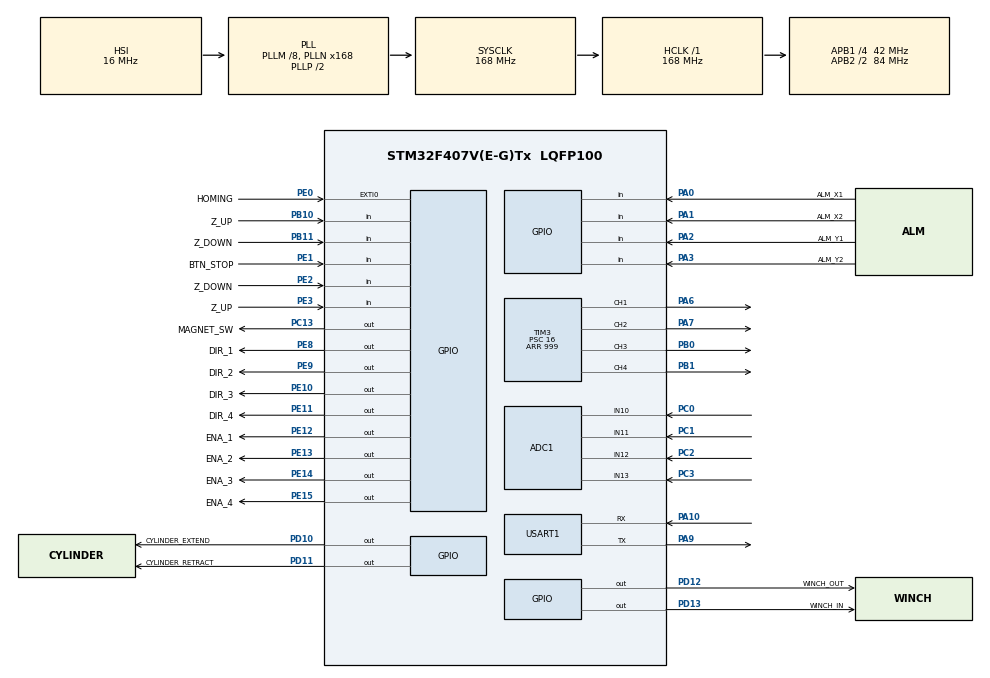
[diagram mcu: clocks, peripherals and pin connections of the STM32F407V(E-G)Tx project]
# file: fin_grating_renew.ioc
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ADC1.Channel-4\#ChannelRegularConversion=ADC_CHANNEL_10
ADC1.Channel-5\#ChannelRegularConversion=ADC_CHANNEL_11
ADC1.Channel-6\#ChannelRegularConversion=ADC_CHANNEL_12
ADC1.Channel-7\#ChannelRegularConversion=ADC_CHANNEL_13
ADC1.ContinuousConvMode=ENABLE
ADC1.DMAContinuousRequests=ENABLE
ADC1.NbrOfConversion=4
ADC1.NbrOfConversionFlag=1
ADC1.Rank-4\#ChannelRegularConversion=1
ADC1.Rank-5\#ChannelRegularConversion=2
ADC1.Rank-6\#ChannelRegularConversion=3
ADC1.Rank-7\#ChannelRegularConversion=4
ADC1.SamplingTime-4\#ChannelRegularConversion=ADC_SAMPLETIME_480CYCLES
ADC1.SamplingTime-5\#ChannelRegularConversion=ADC_SAMPLETIME_480CYCLES
ADC1.SamplingTime-6\#ChannelRegularConversion=ADC_SAMPLETIME_480CYCLES
ADC1.SamplingTime-7\#ChannelRegularConversion=ADC_SAMPLETIME_480CYCLES
ADC1.master=1
Dma.ADC1.0.Direction=DMA_PERIPH_TO_MEMORY
Dma.ADC1.0.FIFOMode=DMA_FIFOMODE_DISABLE
Dma.ADC1.0.Instance=DMA2_Stream0
Dma.ADC1.0.MemDataAlignment=DMA_MDATAALIGN_HALFWORD
Dma.ADC1.0.MemInc=DMA_MINC_ENABLE
Dma.ADC1.0.Mode=DMA_CIRCULAR
Dma.ADC1.0.PeriphDataAlignment=DMA_PDATAALIGN_HALFWORD
Dma.ADC1.0.PeriphInc=DMA_PINC_DISABLE
Dma.ADC1.0.Priority=DMA_PRIORITY_HIGH
Dma.Request0=ADC1
Mcu.Family=STM32F4
Mcu.Name=STM32F407V(E-G)Tx
Mcu.Package=LQFP100
NVIC.DMA2_Stream0_IRQn=true\:2\:0\:false\:false\:true\:false\:true\:true
NVIC.PriorityGroup=NVIC_PRIORITYGROUP_4
NVIC.TIM3_IRQn=true\:0\:0\:false\:false\:true\:true\:true\:true
NVIC.USART1_IRQn=true\:0\:0\:false\:false\:true\:true\:true\:true
PA0-WKUP.GPIO_Label=ALM_X1
PA0-WKUP.GPIO_PuPd=GPIO_PULLUP
PA0-WKUP.Signal=GPIO_Input
PA1.GPIO_Label=ALM_X2
PA1.GPIO_PuPd=GPIO_PULLUP
PA1.Signal=GPIO_Input
PA10.Mode=Asynchronous
PA10.Signal=USART1_RX
PA13.Mode=Serial_Wire
PA13.Signal=SYS_JTMS-SWDIO
PA14.Mode=Serial_Wire
PA14.Signal=SYS_JTCK-SWCLK
PA2.GPIO_Label=ALM_Y1
PA2.GPIO_PuPd=GPIO_PULLUP
PA2.Signal=GPIO_Input
PA3.GPIO_Label=ALM_Y2
PA3.GPIO_PuPd=GPIO_PULLUP
PA3.Signal=GPIO_Input
PA6.Signal=S_TIM3_CH1
PA7.Signal=S_TIM3_CH2
PA9.Mode=Asynchronous
PA9.Signal=USART1_TX
PB0.Signal=S_TIM3_CH3
PB1.Signal=S_TIM3_CH4
PB10.GPIO_Label=Z_UP
PB10.GPIO_PuPd=GPIO_PULLUP
PB10.Signal=GPIO_Input
PB11.GPIO_Label=Z_DOWN
PB11.GPIO_PuPd=GPIO_PULLUP
PB11.Signal=GPIO_Input
PC0.Signal=ADCx_IN10
PC1.Signal=ADCx_IN11
PC13-ANTI_TAMP.GPIO_Label=MAGNET_SW
PC13-ANTI_TAMP.Signal=GPIO_Output
PC2.Signal=ADCx_IN12
PC3.Signal=ADCx_IN13
PD10.GPIO_Label=CYLINDER_EXTEND
PD10.PinState=GPIO_PIN_SET
PD10.Signal=GPIO_Output
PD11.GPIO_Label=CYLINDER_RETRACT
PD11.PinState=GPIO_PIN_SET
PD11.Signal=GPIO_Output
PD12.GPIO_Label=WINCH_OUT
PD12.PinState=GPIO_PIN_SET
PD12.Signal=GPIO_Output
PD13.GPIO_Label=WINCH_IN
PD13.PinState=GPIO_PIN_SET
PD13.Signal=GPIO_Output
PE0.GPIO_Label=HOMING
PE0.GPIO_ModeDefaultEXTI=GPIO_MODE_IT_RISING
PE0.GPIO_PuPd=GPIO_PULLUP
PE0.Signal=GPXTI0
PE1.GPIO_Label=BTN_STOP
PE1.GPIO_PuPd=GPIO_PULLUP
PE1.Signal=GPIO_Input
PE10.GPIO_Label=DIR_3
PE10.Signal=GPIO_Output
PE11.GPIO_Label=DIR_4
PE11.Signal=GPIO_Output
PE12.GPIO_Label=ENA_1
PE12.PinState=GPIO_PIN_SET
PE12.Signal=GPIO_Output
PE13.GPIO_Label=ENA_2
PE13.PinState=GPIO_PIN_SET
PE13.Signal=GPIO_Output
PE14.GPIO_Label=ENA_3
PE14.PinState=GPIO_PIN_SET
PE14.Signal=GPIO_Output
PE15.GPIO_Label=ENA_4
PE15.PinState=GPIO_PIN_SET
PE15.Signal=GPIO_Output
PE2.GPIO_Label=Z_DOWN
PE2.GPIO_PuPd=GPIO_PULLUP
PE2.Signal=GPIO_Input
PE3.GPIO_Label=Z_UP
PE3.GPIO_PuPd=GPIO_PULLUP
PE3.Signal=GPIO_Input
PE8.GPIO_Label=DIR_1
PE8.Signal=GPIO_Output
PE9.GPIO_Label=DIR_2
PE9.Signal=GPIO_Output
PH0-OSC_IN.Mode=HSE-External-Oscillator
PH0-OSC_IN.Signal=RCC_OSC_IN
PH1-OSC_OUT.Mode=HSE-External-Oscillator
PH1-OSC_OUT.Signal=RCC_OSC_OUT
ProjectManager.HeapSize=0x200
ProjectManager.StackSize=0x400
ProjectManager.TargetToolchain=STM32CubeIDE
RCC.48MHZClocksFreq_Value=84000000
RCC.AHBFreq_Value=168000000
RCC.APB1CLKDivider=RCC_HCLK_DIV4
RCC.APB1Freq_Value=42000000
RCC.APB1TimFreq_Value=84000000
RCC.APB2CLKDivider=RCC_HCLK_DIV2
RCC.APB2Freq_Value=84000000
RCC.APB2TimFreq_Value=168000000
RCC.CortexFreq_Value=168000000
RCC.HCLKFreq_Value=168000000
RCC.HSE_VALUE=8000000
RCC.HSI_VALUE=16000000
RCC.LSE_VALUE=32768
RCC.PLLM=8
RCC.PLLN=168
RCC.SYSCLKFreq_VALUE=168000000
RCC.SYSCLKSource=RCC_SYSCLKSOURCE_PLLCLK
RCC.VCOOutputFreq_Value=336000000
SH.ADCx_IN10.0=ADC1_IN10,IN10
SH.ADCx_IN11.0=ADC1_IN11,IN11
SH.ADCx_IN12.0=ADC1_IN12,IN12
SH.ADCx_IN13.0=ADC1_IN13,IN13
SH.S_TIM3_CH1.0=TIM3_CH1,PWM Generation1 CH1
SH.S_TIM3_CH2.0=TIM3_CH2,PWM Generation2 CH2
SH.S_TIM3_CH3.0=TIM3_CH3,PWM Generation3 CH3
SH.S_TIM3_CH4.0=TIM3_CH4,PWM Generation4 CH4
TIM3.Channel-PWM\ Generation1\ CH1=TIM_CHANNEL_1
TIM3.Channel-PWM\ Generation2\ CH2=TIM_CHANNEL_2
TIM3.Channel-PWM\ Generation3\ CH3=TIM_CHANNEL_3
TIM3.Channel-PWM\ Generation4\ CH4=TIM_CHANNEL_4
TIM3.Period=999
TIM3.Prescaler=16
TIM3.Pulse-PWM\ Generation1\ CH1=500
TIM3.Pulse-PWM\ Generation2\ CH2=500
TIM3.Pulse-PWM\ Generation3\ CH3=500
TIM3.Pulse-PWM\ Generation4\ CH4=500
USART1.VirtualMode=VM_ASYNC
VP_TIM3_VS_ClockSourceINT.Mode=Internal
board=custom

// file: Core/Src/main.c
/* USER CODE BEGIN Header */
/**
 ******************************************************************************
 * @file           : main.c
 * @brief          : NOVA Firmware (Architecture Migrated)
 *
 * [역할 분리(중요)]
 *  - main.c      : wiring only
 *      * UART RX ISR(HAL 콜백)  : drivers/drv_uart1.c 가 "단독 소유"
 *      * while loop            : app_cmd_process(), app_fsm_update()
 *
 *  - app_cmd     : 명령 파싱/라우팅(예: ACT:WINCH IN 5000, PING 등)
 *  - app_fsm     : 실행 스케줄링/가드/상태 관리 + DONE/FAIL 전송
 *
 *  - svc_winch   : 릴레이 제어(Active-Low)
 *  - svc_cylinder: 릴레이 제어(Active-Low)
 *  - svc_stepper : 축 호밍 FSM(논블로킹 tick 기반)
 *
 *  - drivers/    : 저수준(GPIO/ALM/TIM PWM/UART 등)
 ******************************************************************************
 */
/* USER CODE END Header */
#include "main.h"

/* USER CODE BEGIN Includes */
#include <math.h>
#include <stdbool.h>
/* USER CODE END Includes */

/* USER CODE BEGIN PD */

// ADC 설정
#define ADC_CHANNELS 4
#define ADC_RESOLUTION 4095.0f
#define ADC_CENTER 2048.0f
#define ADC_DEADZONE 30.0f    // 축소: 대각선 인식 개선
#define ADC_FAILSAFE_MIN 100  // Open-circuit 하한 (2.5%)
#define ADC_FAILSAFE_MAX 3995 // Open-circuit 상한 (97.5%)

// 모터 제어
#define MOTOR_MAX_SPEED 999 // TIM3 Period에 맞춤 (Prescaler 조정으로 5배 속도)
#define SLEW_RATE_LIMIT 0.1f
#define MOTOR_ENABLE_THRESHOLD 0.005f // 축소: 미세 제어 향상

// 타이밍
#define CONTROL_PERIOD_MS 20 // 50ms→20ms (50Hz): 응답속도 2.5배 향상
#define DEBOUNCE_TIME_MS 10

// ALM 신호 디바운싱
#define STALL_DEBOUNCE_COUNT 3 // 연속 3회 감지 시 스톨 인정

// Protocol v1.3: Implicit Mode Switching & Sum Checksum
#define PROTOCOL_HEADER1 0xAA
#define PROTOCOL_HEADER2 0x55
#define UART_RX_BUF_SIZE 8
#define UART_TX_BUF_SIZE 14
#define UART_TIMEOUT_MS 500
#define STALL_OVERRIDE_MS 200 // 스톨 감지 시 명령 차단 시간

/* USER CODE END PD */

ADC_HandleTypeDef hadc1;
DMA_HandleTypeDef hdma_adc1;

TIM_HandleTypeDef htim3;

UART_HandleTypeDef huart1;

/* USER CODE BEGIN PV */

// ADC DMA 버퍼 (DMA 최적화를 위한 4-byte alignment)
volatile uint16_t adc_buffer[ADC_CHANNELS] __attribute__((aligned(4))) = {0};

// 조이스틱 정규화 값
float joy1_x = 0.0f, joy1_y = 0.0f;
float joy2_x = 0.0f, joy2_y = 0.0f;
float prev_joy1_x = 0.0f, prev_joy1_y = 0.0f;
float prev_joy2_x = 0.0f, prev_joy2_y = 0.0f;

// Z축 버튼 상태
uint32_t z_up_last_time = 0, z_down_last_time = 0;
bool z_up_pressed = false, z_down_pressed = false;

bool emergency_stop_active = false;

// ========== 디버그용 전역 변수 (Live Expressions 모니터링용) ==========
volatile uint16_t debug_pwm1_duty = 0;
volatile uint16_t debug_pwm2_duty = 0;
volatile uint16_t debug_pwm3_duty = 0;
volatile uint16_t debug_pwm4_duty = 0;
volatile float debug_motor1_speed = 0.0f;
volatile float debug_motor2_speed = 0.0f;
volatile float debug_motor3_speed = 0.0f;
volatile float debug_motor4_speed = 0.0f;
volatile bool debug_motor1_enabled = false;
volatile bool debug_motor2_enabled = false;
volatile bool debug_motor3_enabled = false;
volatile bool debug_motor4_enabled = false;

// ========== 가상 엔코더 (Virtual Encoder) ==========
volatile float virtual_steps_accumulator[4] = {0.0f};

// ========== Hybrid Control State ==========
volatile bool is_auto_mode = false;
volatile uint32_t last_uart_rx_time = 0;
float auto_cmd_x1 = 0.0f, auto_cmd_y1 = 0.0f;
float auto_cmd_x2 = 0.0f, auto_cmd_y2 = 0.0f;
bool auto_cmd_winch_in = false;
bool auto_cmd_winch_out = false;

// UART RX Buffer
uint8_t uart_rx_buffer[UART_RX_BUF_SIZE];
/* USER CODE END PV */

void SystemClock_Config(void);
static void MX_GPIO_Init(void);
static void MX_DMA_Init(void);
static void MX_USART1_UART_Init(void);
static void MX_TIM3_Init(void);
static void MX_ADC1_Init(void);
/* USER CODE BEGIN PFP */
void Joystick_Init(void);
void Joystick_Read(void);
float Joystick_Normalize(uint16_t raw_value);
float Joystick_ApplySlewRate(float current, float previous);
bool Button_Read_Debounced(GPIO_TypeDef *GPIOx, uint16_t GPIO_Pin,
                           uint32_t *last_time, bool *state);
void Motor_Control(void);
void Emergency_Stop_Check(void);
void UART_Send_Packet(void);
void Parse_UART_Packet(void);
void Motor_Enable(GPIO_TypeDef *GPIOx, uint16_t GPIO_Pin, bool enable);
static void uart1_tx(const uint8_t *data, uint16_t len);
/* USER CODE END PFP */

/* USER CODE BEGIN 0 */

/* ============================================================================
 * 조이스틱 제어 함수 구현
 * ============================================================================
 */

/* 조이스틱 초기화 */
void Joystick_Init(void) {
  // ADC DMA 시작
  HAL_ADC_Start_DMA(&hadc1, (uint32_t *)adc_buffer, ADC_CHANNELS);

  // 모터 Enable 핀 비활성화 (초기 안전 상태)
  Motor_Enable(GPIOE, ENA_1_Pin, false);
  Motor_Enable(GPIOE, ENA_2_Pin, false);
  Motor_Enable(GPIOE, ENA_3_Pin, false);
  Motor_Enable(GPIOE, ENA_4_Pin, false);

  // PWM을 0으로 초기화
  __HAL_TIM_SET_COMPARE(&htim3, TIM_CHANNEL_1, 0);
  __HAL_TIM_SET_COMPARE(&htim3, TIM_CHANNEL_2, 0);
  __HAL_TIM_SET_COMPARE(&htim3, TIM_CHANNEL_3, 0);
  __HAL_TIM_SET_COMPARE(&htim3, TIM_CHANNEL_4, 0);
}

/* ADC 값을 -1.0 ~ +1.0으로 정규화 */
float Joystick_Normalize(uint16_t raw_value) {
  float centered = (float)raw_value - ADC_CENTER;

  // Deadzone 적용
  if (fabsf(centered) < ADC_DEADZONE) {
    return 0.0f;
  }

  // -1.0 ~ +1.0 범위로 정규화
  float normalized = centered / (ADC_RESOLUTION / 2.0f);

  // Clamp
  if (normalized > 1.0f)
    normalized = 1.0f;
  if (normalized < -1.0f)
    normalized = -1.0f;

  return normalized;
}

/* Slew Rate Limiter (급격한 변화 방지) */
float Joystick_ApplySlewRate(float current, float previous) {
  float delta = current - previous;

  if (delta > SLEW_RATE_LIMIT) {
    return previous + SLEW_RATE_LIMIT;
  } else if (delta < -SLEW_RATE_LIMIT) {
    return previous - SLEW_RATE_LIMIT;
  }

  return current;
}

/* 조이스틱 값 읽기 (Fail-Safe 포함) */
void Joystick_Read(void) {
  // Fail-Safe: 조이스틱 단선 감지
  for (int i = 0; i < ADC_CHANNELS; i++) {
    uint16_t raw = adc_buffer[i];
    if (raw < ADC_FAILSAFE_MIN || raw > ADC_FAILSAFE_MAX) {
      // 조이스틱 단선 의심 → 비상 정지
      emergency_stop_active = true;
      return;
    }
  }

  // ADC 값 정규화 (물리적 조이스틱 위치와 모터 매핑 일치)
  // 물리적 왼쪽 조이스틱 → joy1 → 왼쪽 모터(모터1, 모터4)
  float joy1_x_raw = Joystick_Normalize(adc_buffer[3]); // 물리적 왼쪽 VRx (PC3)
  float joy1_y_raw = Joystick_Normalize(adc_buffer[2]); // 물리적 왼쪽 VRy (PC2)

  // 물리적 오른쪽 조이스틱 → joy2 → 오른쪽 모터(모터2, 모터3)
  float joy2_x_raw =
      Joystick_Normalize(adc_buffer[0]); // 물리적 오른쪽 VRx (PC0)
  float joy2_y_raw =
      Joystick_Normalize(adc_buffer[1]); // 물리적 오른쪽 VRy (PC1)

  // 정규화된 값을 직접 사용 (Slew Rate 제거 - 즉시 반응!)
  joy1_x = joy1_x_raw;
  joy1_y = joy1_y_raw;
  joy2_x = joy2_x_raw;
  joy2_y = joy2_y_raw;

  // 이전 값 저장 (호환성 유지)
  prev_joy1_x = joy1_x;
  prev_joy1_y = joy1_y;
  prev_joy2_x = joy2_x;
  prev_joy2_y = joy2_y;
}

/* 디바운스가 적용된 버튼 읽기 */
bool Button_Read_Debounced(GPIO_TypeDef *GPIOx, uint16_t GPIO_Pin,
                           uint32_t *last_time, bool *state) {
  uint32_t now = HAL_GetTick();
  GPIO_PinState pin_state = HAL_GPIO_ReadPin(GPIOx, GPIO_Pin);

  // Active Low 버튼
  bool pressed = (pin_state == GPIO_PIN_RESET);

  if (pressed != *state) {
    if ((now - *last_time) >= DEBOUNCE_TIME_MS) {
      *state = pressed;
      *last_time = now;
    }
  }

  return *state;
}

/* 모터 속도 설정 */
void Motor_SetSpeed(uint32_t tim_channel, float speed) {
  // speed: -1.0 ~ +1.0
  float abs_speed = fabsf(speed);
  uint32_t pwm_value = (uint32_t)(abs_speed * MOTOR_MAX_SPEED);

  if (pwm_value > MOTOR_MAX_SPEED)
    pwm_value = MOTOR_MAX_SPEED;

  __HAL_TIM_SET_COMPARE(&htim3, tim_channel, pwm_value);
}

/* 모터 방향 설정 */
void Motor_SetDirection(GPIO_TypeDef *GPIOx, uint16_t GPIO_Pin, bool forward) {
  HAL_GPIO_WritePin(GPIOx, GPIO_Pin, forward ? GPIO_PIN_SET : GPIO_PIN_RESET);
}

/* 모터 활성화 (Active Low 드라이버용) */
void Motor_Enable(GPIO_TypeDef *GPIOx, uint16_t GPIO_Pin, bool enable) {
  // HB808C는 Active Low: enable=true일 때 0V(RESET) 출력하여 모터 ON
  HAL_GPIO_WritePin(GPIOx, GPIO_Pin, enable ? GPIO_PIN_RESET : GPIO_PIN_SET);
}

/* 비상 정지 체크 */
void Emergency_Stop_Check(void) {
  // BTN_STOP (PE1) 읽기 - Active Low
  GPIO_PinState e_stop = HAL_GPIO_ReadPin(GPIOE, BTN_STOP_Pin);

  if (e_stop == GPIO_PIN_RESET) {
    // E-Stop 활성화
    emergency_stop_active = true;

    // 모든 모터 즉시 정지
    Motor_Enable(GPIOE, ENA_1_Pin, false);
    Motor_Enable(GPIOE, ENA_2_Pin, false);
    Motor_Enable(GPIOE, ENA_3_Pin, false);
    Motor_Enable(GPIOE, ENA_4_Pin, false);

    // PWM 0
    __HAL_TIM_SET_COMPARE(&htim3, TIM_CHANNEL_1, 0);
    __HAL_TIM_SET_COMPARE(&htim3, TIM_CHANNEL_2, 0);
    __HAL_TIM_SET_COMPARE(&htim3, TIM_CHANNEL_3, 0);
    __HAL_TIM_SET_COMPARE(&htim3, TIM_CHANNEL_4, 0);

    // 윈치 정지 (Active Low - SET = OFF)
    HAL_GPIO_WritePin(GPIOD, WINCH_OUT_Pin, GPIO_PIN_SET);
    HAL_GPIO_WritePin(GPIOD, WINCH_IN_Pin, GPIO_PIN_SET);
  } else {
    emergency_stop_active = false;
  }
}

/* 모터 제어 */
void Motor_Control(void) {
  static bool homing_active = false;
  static bool motor_stalled_homing[4] = {false, false, false, false};
  static bool prev_sw_homing = false;

  // ========== ALM 신호 읽기 (PA0~PA3, Active Low) ==========
  bool alm_motor1 = (HAL_GPIO_ReadPin(GPIOA, GPIO_PIN_0) == GPIO_PIN_RESET);
  bool alm_motor2 = (HAL_GPIO_ReadPin(GPIOA, GPIO_PIN_1) == GPIO_PIN_RESET);
  bool alm_motor3 = (HAL_GPIO_ReadPin(GPIOA, GPIO_PIN_2) == GPIO_PIN_RESET);
  bool alm_motor4 = (HAL_GPIO_ReadPin(GPIOA, GPIO_PIN_3) == GPIO_PIN_RESET);

  // [Global Stall Protection]
  static uint8_t alm_debounce[4] = {0, 0, 0, 0};
  bool stall_active[4] = {false, false, false, false};
  bool raw_alms[4] = {alm_motor1, alm_motor2, alm_motor3, alm_motor4};

  for (int i = 0; i < 4; i++) {
    if (raw_alms[i]) {
      if (alm_debounce[i] < STALL_DEBOUNCE_COUNT)
        alm_debounce[i]++;
    } else {
      if (alm_debounce[i] > 0)
        alm_debounce[i]--;
    }
    if (alm_debounce[i] >= STALL_DEBOUNCE_COUNT)
      stall_active[i] = true;
  }

  // ========== 제어 버튼 읽기 (Active Low) ==========
  // CubeMX에서 설정한 Label(매크로) 사용
  bool sw_homing =
      (HAL_GPIO_ReadPin(HOMING_GPIO_Port, HOMING_Pin) == GPIO_PIN_RESET);
  // [Note] sw_z_up, sw_z_down은 아래에서 디바운싱 로직으로 대체됨
  bool sw_estop =
      (HAL_GPIO_ReadPin(BTN_STOP_GPIO_Port, BTN_STOP_Pin) == GPIO_PIN_RESET);

  // 1. 비상 정지
  if (sw_estop) {
    emergency_stop_active = true;
    homing_active = false;
  }

  if (emergency_stop_active)
    return;

  // ========== 1. Z축(윈치) 제어 (최우선 순위 및 디바운싱 적용) ==========
  // 수동 모드일 때만 물리 버튼에서 상태 업데이트 (Auto 모드면 통신값이 우선)
  if (!is_auto_mode) {
    Button_Read_Debounced(Z_UP_GPIO_Port, Z_UP_Pin, &z_up_last_time,
                          &z_up_pressed);
    Button_Read_Debounced(Z_DOWN_GPIO_Port, Z_DOWN_Pin, &z_down_last_time,
                          &z_down_pressed);
  }

  if (z_up_pressed && !z_down_pressed) {
    // 윈치 OUT (Z-UP) - Active Low
    HAL_GPIO_WritePin(GPIOD, WINCH_OUT_Pin, GPIO_PIN_RESET);
    HAL_GPIO_WritePin(GPIOD, WINCH_IN_Pin, GPIO_PIN_SET);
  } else if (z_down_pressed && !z_up_pressed) {
    // 윈치 IN (Z-DOWN) - Active Low
    HAL_GPIO_WritePin(GPIOD, WINCH_OUT_Pin, GPIO_PIN_SET);
    HAL_GPIO_WritePin(GPIOD, WINCH_IN_Pin, GPIO_PIN_RESET);
  } else {
    // 윈치 정지
    HAL_GPIO_WritePin(GPIOD, WINCH_OUT_Pin, GPIO_PIN_SET);
    HAL_GPIO_WritePin(GPIOD, WINCH_IN_Pin, GPIO_PIN_SET);
  }

  // 2. 호밍 트리거 (Rising Edge)
  if (sw_homing && !prev_sw_homing && !homing_active) {
    homing_active = true;
    motor_stalled_homing[0] = false;
    motor_stalled_homing[1] = false;
    motor_stalled_homing[2] = false;
    motor_stalled_homing[3] = false;
  }
  prev_sw_homing = sw_homing;

  // 3. 호밍 시퀀스 (스톨 감지)
  if (homing_active) {
    float homing_speed = 0.3f;

    // ALM 신호로 스톨 감지
    if (alm_motor1 && !motor_stalled_homing[0])
      motor_stalled_homing[0] = true;
    if (alm_motor2 && !motor_stalled_homing[1])
      motor_stalled_homing[1] = true;
    if (alm_motor3 && !motor_stalled_homing[2])
      motor_stalled_homing[2] = true;
    if (alm_motor4 && !motor_stalled_homing[3])
      motor_stalled_homing[3] = true;

    bool all_stalled = motor_stalled_homing[0] && motor_stalled_homing[1] &&
                       motor_stalled_homing[2] && motor_stalled_homing[3];

    if (!all_stalled) {
      // 아직 안된 모터만 이동
      if (!motor_stalled_homing[0]) {
        Motor_Enable(GPIOE, ENA_1_Pin, true);
        Motor_SetDirection(GPIOE, DIR_1_Pin, 0);
        Motor_SetSpeed(TIM_CHANNEL_1, homing_speed);
      } else {
        Motor_SetSpeed(TIM_CHANNEL_1, 0);
      }

      if (!motor_stalled_homing[1]) {
        Motor_Enable(GPIOE, ENA_2_Pin, true);
        Motor_SetDirection(GPIOE, DIR_2_Pin, 0);
        Motor_SetSpeed(TIM_CHANNEL_2, homing_speed);
      } else {
        Motor_SetSpeed(TIM_CHANNEL_2, 0);
      }

      if (!motor_stalled_homing[2]) {
        Motor_Enable(GPIOE, ENA_3_Pin, true);
        Motor_SetDirection(GPIOE, DIR_3_Pin, 0);
        Motor_SetSpeed(TIM_CHANNEL_3, homing_speed);
      } else {
        Motor_SetSpeed(TIM_CHANNEL_3, 0);
      }

      if (!motor_stalled_homing[3]) {
        Motor_Enable(GPIOE, ENA_4_Pin, true);
        Motor_SetDirection(GPIOE, DIR_4_Pin, 0);
        Motor_SetSpeed(TIM_CHANNEL_4, homing_speed);
      } else {
        Motor_SetSpeed(TIM_CHANNEL_4, 0);
      }
    } else {
      // 모두 완료 → OCP 리셋 (Non-blocking)
      static uint32_t reset_start_time = 0;

      if (reset_start_time == 0) {
        // 1) 리셋 시작: 모터 정지 및 Enable Off
        Motor_SetSpeed(TIM_CHANNEL_1, 0);
        Motor_SetSpeed(TIM_CHANNEL_2, 0);
        Motor_SetSpeed(TIM_CHANNEL_3, 0);
        Motor_SetSpeed(TIM_CHANNEL_4, 0);

        Motor_Enable(GPIOE, ENA_1_Pin, false);
        Motor_Enable(GPIOE, ENA_2_Pin, false);
        Motor_Enable(GPIOE, ENA_3_Pin, false);
        Motor_Enable(GPIOE, ENA_4_Pin, false);

        reset_start_time = HAL_GetTick();
        if (reset_start_time == 0)
          reset_start_time = 1; // 0 회피
        return;                 // Non-blocking: 다음 루프 대기
      }

      // 2) 50ms 대기 확인
      if (HAL_GetTick() - reset_start_time >= 50) {
        // 50ms 경과: 좌표 리셋 및 호밍 종료
        joy1_x = 0.0f;
        joy1_y = 0.0f;
        joy2_x = 0.0f;
        joy2_y = 0.0f;
        prev_joy1_x = 0;
        prev_joy1_y = 0;
        prev_joy2_x = 0;
        prev_joy2_y = 0;

        homing_active = false;
        reset_start_time = 0; // 초기화
      }
    }

    return;
  }

  // 4. 조이스틱 제어 (하드웨어 배선에 맞춰 수정됨)
  // Loop: 20ms (0.02s) -> Max steps/loop tracking
  const float MAX_STEPS_PER_LOOP = 100.0f;

  // X1 (joy1_x) → 모터1: PA6(CH1), PE8(DIR), PE12(ENA) ✅
  if (stall_active[0])
    joy1_x = 0.0f; // Safety Override
  if (fabsf(joy1_x) > MOTOR_ENABLE_THRESHOLD) {
    virtual_steps_accumulator[0] += joy1_x * MAX_STEPS_PER_LOOP;
  }
  Motor_Enable(GPIOE, ENA_1_Pin, fabsf(joy1_x) > MOTOR_ENABLE_THRESHOLD);
  Motor_SetDirection(GPIOE, DIR_1_Pin, joy1_x > 0);
  Motor_SetSpeed(TIM_CHANNEL_1, joy1_x);

  // Y1 (joy1_y) → 모터4 핀 사용: PB1(CH4), PE11(DIR), PE15(ENA) 🔧 왼쪽 Y!
  if (stall_active[3])
    joy1_y = 0.0f; // Safety Override (Motor 4)
  if (fabsf(joy1_y) > MOTOR_ENABLE_THRESHOLD) {
    virtual_steps_accumulator[3] += joy1_y * MAX_STEPS_PER_LOOP;
  }
  Motor_Enable(GPIOE, ENA_4_Pin, fabsf(joy1_y) > MOTOR_ENABLE_THRESHOLD);
  Motor_SetDirection(GPIOE, DIR_4_Pin,
                     joy1_y < 0); // 좌측 Y축 다시 반전 (원래대로)
  Motor_SetSpeed(TIM_CHANNEL_4, joy1_y);

  // X2 (joy2_x) → 모터2 핀 사용: PA7(CH2), PE9(DIR), PE13(ENA) - 왼쪽 모듈 X축
  if (stall_active[1])
    joy2_x = 0.0f; // Safety Override (Motor 2)
  if (fabsf(joy2_x) > MOTOR_ENABLE_THRESHOLD) {
    virtual_steps_accumulator[1] += joy2_x * MAX_STEPS_PER_LOOP;
  }
  Motor_Enable(GPIOE, ENA_2_Pin, fabsf(joy2_x) > MOTOR_ENABLE_THRESHOLD);
  Motor_SetDirection(GPIOE, DIR_2_Pin, joy2_x > 0); // 우측 X축 다시 반전
  Motor_SetSpeed(TIM_CHANNEL_2, joy2_x);

  // Y2 (joy2_y) → 모터3 핀 사용: PB0(CH3), PE10(DIR), PE14(ENA) 🔧 오른쪽 Y!
  if (stall_active[2])
    joy2_y = 0.0f; // Safety Override (Motor 3)
  if (fabsf(joy2_y) > MOTOR_ENABLE_THRESHOLD) {
    virtual_steps_accumulator[2] += joy2_y * MAX_STEPS_PER_LOOP;
  }
  Motor_Enable(GPIOE, ENA_3_Pin, fabsf(joy2_y) > MOTOR_ENABLE_THRESHOLD);
  Motor_SetDirection(GPIOE, DIR_3_Pin,
                     joy2_y > 0); // 우측 Y축 다시 반전
  Motor_SetSpeed(TIM_CHANNEL_3, joy2_y);

  // ========== 디버그 변수 업데이트 (물리적 채널 순서로 정렬) ==========
  debug_motor1_speed = joy1_x; // CH1 (PA6)
  debug_motor2_speed = joy2_x; // CH2 (PA7)
  debug_motor3_speed = joy2_y; // CH3 (PB0) - 오른쪽 Y축
  debug_motor4_speed = joy1_y; // CH4 (PB1) - 왼쪽 Y축

  debug_motor1_enabled = (fabsf(joy1_x) > MOTOR_ENABLE_THRESHOLD);
  debug_motor2_enabled = (fabsf(joy2_x) > MOTOR_ENABLE_THRESHOLD);
  debug_motor3_enabled = (fabsf(joy2_y) > MOTOR_ENABLE_THRESHOLD); // 수정
  debug_motor4_enabled = (fabsf(joy1_y) > MOTOR_ENABLE_THRESHOLD); // 수정

  debug_pwm1_duty = __HAL_TIM_GET_COMPARE(&htim3, TIM_CHANNEL_1);
  debug_pwm2_duty = __HAL_TIM_GET_COMPARE(&htim3, TIM_CHANNEL_2);
  debug_pwm3_duty = __HAL_TIM_GET_COMPARE(&htim3, TIM_CHANNEL_3);
  debug_pwm4_duty = __HAL_TIM_GET_COMPARE(&htim3, TIM_CHANNEL_4);

  // Z축 제어 로직은 함수 상단으로 이동됨
}

/* 젯슨으로 데이터 패킷 전송 (14 bytes) */
void UART_Send_Packet(void) {
  uint8_t packet[UART_TX_BUF_SIZE];

  // 1. Header
  packet[0] = PROTOCOL_HEADER1;
  packet[1] = PROTOCOL_HEADER2;

  // 2. Encoder Step (Motor 1 - Left X)
  int32_t step_data = (int32_t)virtual_steps_accumulator[0];
  packet[2] = (uint8_t)(step_data & 0xFF);
  packet[3] = (uint8_t)((step_data >> 8) & 0xFF);
  packet[4] = (uint8_t)((step_data >> 16) & 0xFF);
  packet[5] = (uint8_t)((step_data >> 24) & 0xFF);

  // 3. Action Logging (Normalized -100 ~ 100 char)
  packet[6] = (int8_t)(joy1_x * 100.0f);
  packet[7] = (int8_t)(joy1_y * 100.0f);
  packet[8] = (int8_t)(joy2_x * 100.0f);
  packet[9] = (int8_t)(joy2_y * 100.0f);

  // Winch Status (Simple 0/1/2)
  if (z_up_pressed)
    packet[10] = 1;
  else if (z_down_pressed)
    packet[10] = 2;
  else
    packet[10] = 0;

  // 4. Mode
  packet[11] = is_auto_mode ? 0x01 : 0x00;

  // 5. Status
  packet[12] = emergency_stop_active ? 0x02 : 0x01;

  // 6. Checksum (Sum of bytes 2-12)
  uint8_t checksum = 0;
  for (int i = 2; i <= 12; i++) {
    checksum += packet[i];
  }
  packet[13] = checksum;

  // Transmit
  uart1_tx(packet, UART_TX_BUF_SIZE);
}

// UART RX Complete Callback
void HAL_UART_RxCpltCallback(UART_HandleTypeDef *huart) {
  if (huart->Instance == USART1) {
    if (uart_rx_buffer[0] == PROTOCOL_HEADER1 &&
        uart_rx_buffer[1] == PROTOCOL_HEADER2) {
      Parse_UART_Packet();
      last_uart_rx_time = HAL_GetTick();
    }
    HAL_UART_Receive_IT(&huart1, uart_rx_buffer, UART_RX_BUF_SIZE);
  }
}

// v1.3: Parse Packet & Update Auto Commands
void Parse_UART_Packet(void) {
  uint8_t calc_sum = 0;
  for (int i = 2; i < 7; i++) {
    calc_sum += uart_rx_buffer[i];
  }

  if (calc_sum != uart_rx_buffer[7])
    return; // Checksum Fail

  is_auto_mode = true;
  last_uart_rx_time = HAL_GetTick();

  auto_cmd_x1 = ((int8_t)uart_rx_buffer[2]) / 100.0f;
  auto_cmd_y1 = ((int8_t)uart_rx_buffer[3]) / 100.0f;
  auto_cmd_x2 = ((int8_t)uart_rx_buffer[4]) / 100.0f;
  auto_cmd_y2 = ((int8_t)uart_rx_buffer[5]) / 100.0f;

  int8_t winch_val = (int8_t)uart_rx_buffer[6];
  if (winch_val > 10) {
    auto_cmd_winch_in = true;
    auto_cmd_winch_out = false;
  } else if (winch_val < -10) {
    auto_cmd_winch_in = false;
    auto_cmd_winch_out = true;
  } else {
    auto_cmd_winch_in = false;
    auto_cmd_winch_out = false;
  }
}

static void uart1_tx(const uint8_t *data, uint16_t len) {
  (void)HAL_UART_Transmit(&huart1, (uint8_t *)data, len, 100);
}

/* 디버거 대기 */
#if defined(DEBUG) || defined(_DEBUG)
static void debug_wait_for_attach(uint32_t max_wait_ms) {
  uint32_t t0 = HAL_GetTick();
  while ((HAL_GetTick() - t0) < max_wait_ms) {
    if (CoreDebug->DHCSR & CoreDebug_DHCSR_C_DEBUGEN_Msk) {
      break;
    }
  }
}
#else
static void debug_wait_for_attach(uint32_t max_wait_ms) { (void)max_wait_ms; }
#endif

/* USER CODE END 0 */

int main(void) {

  /* MCU Configuration--------------------------------------------------------*/

  /* Reset of all peripherals, Initializes the Flash interface and the Systick.
   */
  HAL_Init();

  /* USER CODE BEGIN Init */
  debug_wait_for_attach(500);
  /* USER CODE END Init */

  /* Configure the system clock */
  SystemClock_Config();

  /* Initialize all configured peripherals */
  MX_GPIO_Init();
  MX_DMA_Init();
  MX_USART1_UART_Init();
  MX_TIM3_Init();
  MX_ADC1_Init();
  /* USER CODE BEGIN 2 */

  /* 조이스틱 초기화 */
  Joystick_Init();

  /* TIM3 PWM 시작 */
  HAL_TIM_PWM_Start(&htim3, TIM_CHANNEL_1);
  HAL_TIM_PWM_Start(&htim3, TIM_CHANNEL_2);
  HAL_TIM_PWM_Start(&htim3, TIM_CHANNEL_3);
  HAL_TIM_PWM_Start(&htim3, TIM_CHANNEL_4);

  /* USER CODE END 2 */

  // UART RX Start
  HAL_UART_Receive_IT(&huart1, uart_rx_buffer, UART_RX_BUF_SIZE);

  /* Infinite loop */
  /* USER CODE BEGIN WHILE */
  uint32_t last_control_time = HAL_GetTick();

  while (1) {
    uint32_t now = HAL_GetTick();

    // 1. 비상 정지 체크 (최우선)
    Emergency_Stop_Check();

    // 2. 제어 주기 (50ms)
    if ((now - last_control_time) >= CONTROL_PERIOD_MS) {
      last_control_time = now;

      // 조이스틱 읽기 (로깅용)
      Joystick_Read();

      // Hybrid Control Mode Switch
      if (is_auto_mode) {
        if ((now - last_uart_rx_time) > UART_TIMEOUT_MS) {
          is_auto_mode = false;
        } else {
          joy1_x = auto_cmd_x1;
          joy1_y = auto_cmd_y1;
          joy2_x = auto_cmd_x2;
          joy2_y = auto_cmd_y2;
          z_up_pressed = auto_cmd_winch_in;
          z_down_pressed = auto_cmd_winch_out;
        }
      }

      // 모터 제어
      Motor_Control();

      // 데이터 송신
      UART_Send_Packet();
    }

#if (MAIN_USE_WFI == 1)
    __WFI();
#endif
  }
  /* USER CODE END WHILE */

}

void SystemClock_Config(void) {
  RCC_OscInitTypeDef RCC_OscInitStruct = {0};
  RCC_ClkInitTypeDef RCC_ClkInitStruct = {0};

  /** Configure the main internal regulator output voltage
   */
  __HAL_RCC_PWR_CLK_ENABLE();
  __HAL_PWR_VOLTAGESCALING_CONFIG(PWR_REGULATOR_VOLTAGE_SCALE1);

  /** Initializes the RCC Oscillators according to the specified parameters
   * in the RCC_OscInitTypeDef structure.
   */
  RCC_OscInitStruct.OscillatorType = RCC_OSCILLATORTYPE_HSI;
  RCC_OscInitStruct.HSIState = RCC_HSI_ON;
  RCC_OscInitStruct.HSICalibrationValue = RCC_HSICALIBRATION_DEFAULT;
  RCC_OscInitStruct.PLL.PLLState = RCC_PLL_ON;
  RCC_OscInitStruct.PLL.PLLSource = RCC_PLLSOURCE_HSI;
  RCC_OscInitStruct.PLL.PLLM = 8;
  RCC_OscInitStruct.PLL.PLLN = 168;
  RCC_OscInitStruct.PLL.PLLP = RCC_PLLP_DIV2;
  RCC_OscInitStruct.PLL.PLLQ = 4;
  if (HAL_RCC_OscConfig(&RCC_OscInitStruct) != HAL_OK) {
    Error_Handler();
  }

  /** Initializes the CPU, AHB and APB buses clocks
   */
  RCC_ClkInitStruct.ClockType = RCC_CLOCKTYPE_HCLK | RCC_CLOCKTYPE_SYSCLK |
                                RCC_CLOCKTYPE_PCLK1 | RCC_CLOCKTYPE_PCLK2;
  RCC_ClkInitStruct.SYSCLKSource = RCC_SYSCLKSOURCE_PLLCLK;
  RCC_ClkInitStruct.AHBCLKDivider = RCC_SYSCLK_DIV1;
  RCC_ClkInitStruct.APB1CLKDivider = RCC_HCLK_DIV4;
  RCC_ClkInitStruct.APB2CLKDivider = RCC_HCLK_DIV2;

  if (HAL_RCC_ClockConfig(&RCC_ClkInitStruct, FLASH_LATENCY_5) != HAL_OK) {
    Error_Handler();
  }
}

static void MX_ADC1_Init(void) {

  ADC_ChannelConfTypeDef sConfig = {0};

  /** Configure the global features of the ADC (Clock, Resolution, Data
   * Alignment and number of conversion)
   */
  hadc1.Instance = ADC1;
  hadc1.Init.ClockPrescaler = ADC_CLOCK_SYNC_PCLK_DIV4;
  hadc1.Init.Resolution = ADC_RESOLUTION_12B;
  hadc1.Init.ScanConvMode = ENABLE;
  hadc1.Init.ContinuousConvMode = ENABLE;
  hadc1.Init.DiscontinuousConvMode = DISABLE;
  hadc1.Init.ExternalTrigConvEdge = ADC_EXTERNALTRIGCONVEDGE_NONE;
  hadc1.Init.ExternalTrigConv = ADC_SOFTWARE_START;
  hadc1.Init.DataAlign = ADC_DATAALIGN_RIGHT;
  hadc1.Init.NbrOfConversion = 4;
  hadc1.Init.DMAContinuousRequests = ENABLE;
  hadc1.Init.EOCSelection = ADC_EOC_SINGLE_CONV;
  if (HAL_ADC_Init(&hadc1) != HAL_OK) {
    Error_Handler();
  }

  /** Configure for the selected ADC regular channel its corresponding rank in
   * the sequencer and its sample time.
   */
  sConfig.Channel = ADC_CHANNEL_10;
  sConfig.Rank = 1;
  sConfig.SamplingTime = ADC_SAMPLETIME_480CYCLES;
  if (HAL_ADC_ConfigChannel(&hadc1, &sConfig) != HAL_OK) {
    Error_Handler();
  }

  /** Configure for the selected ADC regular channel its corresponding rank in
   * the sequencer and its sample time.
   */
  sConfig.Channel = ADC_CHANNEL_11;
  sConfig.Rank = 2;
  if (HAL_ADC_ConfigChannel(&hadc1, &sConfig) != HAL_OK) {
    Error_Handler();
  }

  /** Configure for the selected ADC regular channel its corresponding rank in
   * the sequencer and its sample time.
   */
  sConfig.Channel = ADC_CHANNEL_12;
  sConfig.Rank = 3;
  if (HAL_ADC_ConfigChannel(&hadc1, &sConfig) != HAL_OK) {
    Error_Handler();
  }

  /** Configure for the selected ADC regular channel its corresponding rank in
   * the sequencer and its sample time.
   */
  sConfig.Channel = ADC_CHANNEL_13;
  sConfig.Rank = 4;
  if (HAL_ADC_ConfigChannel(&hadc1, &sConfig) != HAL_OK) {
    Error_Handler();
  }
}

static void MX_TIM3_Init(void) {

  TIM_ClockConfigTypeDef sClockSourceConfig = {0};
  TIM_MasterConfigTypeDef sMasterConfig = {0};
  TIM_OC_InitTypeDef sConfigOC = {0};

  htim3.Instance = TIM3;
  htim3.Init.Prescaler = 16;
  htim3.Init.CounterMode = TIM_COUNTERMODE_UP;
  htim3.Init.Period = 999;
  htim3.Init.ClockDivision = TIM_CLOCKDIVISION_DIV1;
  htim3.Init.AutoReloadPreload = TIM_AUTORELOAD_PRELOAD_DISABLE;
  if (HAL_TIM_Base_Init(&htim3) != HAL_OK) {
    Error_Handler();
  }
  sClockSourceConfig.ClockSource = TIM_CLOCKSOURCE_INTERNAL;
  if (HAL_TIM_ConfigClockSource(&htim3, &sClockSourceConfig) != HAL_OK) {
    Error_Handler();
  }
  if (HAL_TIM_PWM_Init(&htim3) != HAL_OK) {
    Error_Handler();
  }
  sMasterConfig.MasterOutputTrigger = TIM_TRGO_RESET;
  sMasterConfig.MasterSlaveMode = TIM_MASTERSLAVEMODE_DISABLE;
  if (HAL_TIMEx_MasterConfigSynchronization(&htim3, &sMasterConfig) != HAL_OK) {
    Error_Handler();
  }
  sConfigOC.OCMode = TIM_OCMODE_PWM1;
  sConfigOC.Pulse = 500;
  sConfigOC.OCPolarity = TIM_OCPOLARITY_HIGH;
  sConfigOC.OCFastMode = TIM_OCFAST_DISABLE;
  if (HAL_TIM_PWM_ConfigChannel(&htim3, &sConfigOC, TIM_CHANNEL_1) != HAL_OK) {
    Error_Handler();
  }
  if (HAL_TIM_PWM_ConfigChannel(&htim3, &sConfigOC, TIM_CHANNEL_2) != HAL_OK) {
    Error_Handler();
  }
  if (HAL_TIM_PWM_ConfigChannel(&htim3, &sConfigOC, TIM_CHANNEL_3) != HAL_OK) {
    Error_Handler();
  }
  if (HAL_TIM_PWM_ConfigChannel(&htim3, &sConfigOC, TIM_CHANNEL_4) != HAL_OK) {
    Error_Handler();
  }
  HAL_TIM_MspPostInit(&htim3);
}

static void MX_USART1_UART_Init(void) {

  huart1.Instance = USART1;
  huart1.Init.BaudRate = 115200;
  huart1.Init.WordLength = UART_WORDLENGTH_8B;
  huart1.Init.StopBits = UART_STOPBITS_1;
  huart1.Init.Parity = UART_PARITY_NONE;
  huart1.Init.Mode = UART_MODE_TX_RX;
  huart1.Init.HwFlowCtl = UART_HWCONTROL_NONE;
  huart1.Init.OverSampling = UART_OVERSAMPLING_16;
  if (HAL_UART_Init(&huart1) != HAL_OK) {
    Error_Handler();
  }
}

static void MX_DMA_Init(void) {

  /* DMA controller clock enable */
  __HAL_RCC_DMA2_CLK_ENABLE();

  /* DMA interrupt init */
  /* DMA2_Stream0_IRQn interrupt configuration */
  HAL_NVIC_SetPriority(DMA2_Stream0_IRQn, 2, 0);
  HAL_NVIC_EnableIRQ(DMA2_Stream0_IRQn);
}

static void MX_GPIO_Init(void) {
  GPIO_InitTypeDef GPIO_InitStruct = {0};

  /* GPIO Ports Clock Enable */
  __HAL_RCC_GPIOE_CLK_ENABLE();
  __HAL_RCC_GPIOC_CLK_ENABLE();
  __HAL_RCC_GPIOH_CLK_ENABLE();
  __HAL_RCC_GPIOA_CLK_ENABLE();
  __HAL_RCC_GPIOB_CLK_ENABLE();
  __HAL_RCC_GPIOD_CLK_ENABLE();

  /*Configure GPIO pin Output Level */
  HAL_GPIO_WritePin(MAGNET_SW_GPIO_Port, MAGNET_SW_Pin, GPIO_PIN_RESET);

  /*Configure GPIO pin Output Level */
  HAL_GPIO_WritePin(GPIOE, DIR_1_Pin | DIR_2_Pin | DIR_3_Pin | DIR_4_Pin,
                    GPIO_PIN_RESET);

  /*Configure GPIO pin Output Level */
  HAL_GPIO_WritePin(GPIOE, ENA_1_Pin | ENA_2_Pin | ENA_3_Pin | ENA_4_Pin,
                    GPIO_PIN_SET);

  /*Configure GPIO pin Output Level */
  HAL_GPIO_WritePin(GPIOD,
                    CYLINDER_EXTEND_Pin | CYLINDER_RETRACT_Pin | WINCH_OUT_Pin |
                        WINCH_IN_Pin,
                    GPIO_PIN_SET);

  /*Configure GPIO pins : Z_DOWN_Pin BTN_STOP_Pin Z_UPE1_Pin */
  GPIO_InitStruct.Pin = Z_DOWN_Pin | BTN_STOP_Pin | Z_UPE1_Pin;
  GPIO_InitStruct.Mode = GPIO_MODE_INPUT;
  GPIO_InitStruct.Pull = GPIO_PULLUP;
  HAL_GPIO_Init(GPIOE, &GPIO_InitStruct);

  /*Configure GPIO pin : MAGNET_SW_Pin */
  GPIO_InitStruct.Pin = MAGNET_SW_Pin;
  GPIO_InitStruct.Mode = GPIO_MODE_OUTPUT_PP;
  GPIO_InitStruct.Pull = GPIO_NOPULL;
  GPIO_InitStruct.Speed = GPIO_SPEED_FREQ_LOW;
  HAL_GPIO_Init(MAGNET_SW_GPIO_Port, &GPIO_InitStruct);

  /*Configure GPIO pins : ALM_X1_Pin ALM_X2_Pin ALM_Y1_Pin ALM_Y2_Pin */
  GPIO_InitStruct.Pin = ALM_X1_Pin | ALM_X2_Pin | ALM_Y1_Pin | ALM_Y2_Pin;
  GPIO_InitStruct.Mode = GPIO_MODE_INPUT;
  GPIO_InitStruct.Pull = GPIO_PULLUP;
  HAL_GPIO_Init(GPIOA, &GPIO_InitStruct);

  /*Configure GPIO pins : DIR_1_Pin DIR_2_Pin DIR_3_Pin DIR_4_Pin
                           ENA_1_Pin ENA_2_Pin ENA_3_Pin ENA_4_Pin */
  GPIO_InitStruct.Pin = DIR_1_Pin | DIR_2_Pin | DIR_3_Pin | DIR_4_Pin |
                        ENA_1_Pin | ENA_2_Pin | ENA_3_Pin | ENA_4_Pin;
  GPIO_InitStruct.Mode = GPIO_MODE_OUTPUT_PP;
  GPIO_InitStruct.Pull = GPIO_NOPULL;
  GPIO_InitStruct.Speed = GPIO_SPEED_FREQ_LOW;
  HAL_GPIO_Init(GPIOE, &GPIO_InitStruct);

  /*Configure GPIO pins : Z_UP_Pin Z_DOWNB11_Pin */
  GPIO_InitStruct.Pin = Z_UP_Pin | Z_DOWNB11_Pin;
  GPIO_InitStruct.Mode = GPIO_MODE_INPUT;
  GPIO_InitStruct.Pull = GPIO_PULLUP;
  HAL_GPIO_Init(GPIOB, &GPIO_InitStruct);

  /*Configure GPIO pins : CYLINDER_EXTEND_Pin CYLINDER_RETRACT_Pin WINCH_OUT_Pin
   * WINCH_IN_Pin */
  GPIO_InitStruct.Pin =
      CYLINDER_EXTEND_Pin | CYLINDER_RETRACT_Pin | WINCH_OUT_Pin | WINCH_IN_Pin;
  GPIO_InitStruct.Mode = GPIO_MODE_OUTPUT_PP;
  GPIO_InitStruct.Pull = GPIO_NOPULL;
  GPIO_InitStruct.Speed = GPIO_SPEED_FREQ_LOW;
  HAL_GPIO_Init(GPIOD, &GPIO_InitStruct);

  /*Configure GPIO pin : HOMING_Pin */
  GPIO_InitStruct.Pin = HOMING_Pin;
  GPIO_InitStruct.Mode = GPIO_MODE_IT_RISING;
  GPIO_InitStruct.Pull = GPIO_PULLUP;
  HAL_GPIO_Init(HOMING_GPIO_Port, &GPIO_InitStruct);

}

void Error_Handler(void) {
  __disable_irq();
  while (1) {
  }
}
#ifdef USE_FULL_ASSERT
/**
 * @brief  Reports the name of the source file and the source line number
 *         where the assert_param error has occurred.
 * @param  file: pointer to the source file name
 * @param  line: assert_param error line source number
 * @retval None
 */
void assert_failed(uint8_t *file, uint32_t line) {
  /* USER CODE BEGIN 6 */
  /* User can add his own implementation to report the file name and line
     number, ex: printf("Wrong parameters value: file %s on line %d\r\n", file,
     line) */
  /* USER CODE END 6 */
}
#endif /* USE_FULL_ASSERT */
